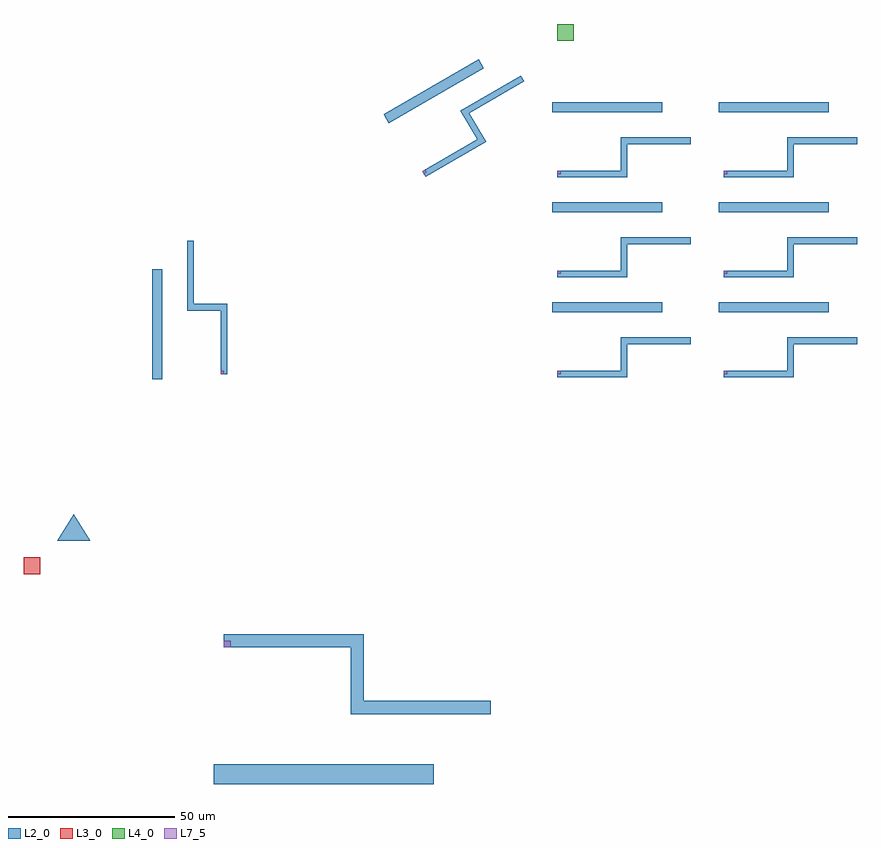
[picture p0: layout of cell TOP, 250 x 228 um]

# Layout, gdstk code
from math import pi, radians
import gdstk
lib = gdstk.Library(unit=1e-6, precision=1e-09)
def R(c, l, rs):  # rectangles x0, y0, x1, y1
    for r in rs: c.add(gdstk.rectangle(r[:2], r[2:], *l))
def P(c, l, *ps):  # polygons
    for p in ps: c.add(gdstk.Polygon(p, *l))
L2_0 = (2, 0)
L3_0 = (3, 0)
L4_0 = (4, 0)
L7_5 = (7, 5)

res = lib.new_cell('RES')
R(res, L7_5, [(0,0,1,1)])
res.add(gdstk.FlexPath([(0,0),(20,0),(20,10),(40,10)], 2, ends="flush", simple_path=True, layer=2, datatype=0))  # L2_0
res.add(gdstk.FlexPath([(0,20),(30,20)], 3, ends="extended", simple_path=True, layer=2, datatype=0))  # L2_0

top = lib.new_cell('TOP')
P(top, L2_0, [(-50,-50),(-45,-42),(-40,-50)])
R(top, L3_0, [(-60,-60,-55,-55)])
R(top, L4_0, [(100,100,105,105)])
top.add(gdstk.Reference(res, (0,0), rotation=pi/2))
top.add(gdstk.Reference(res, (0,-80), magnification=2, x_reflection=True))
top.add(gdstk.Reference(res, (60,60), rotation=radians(30)))
r = gdstk.Reference(res, (100,0)); r.repetition = gdstk.Repetition(2, 3, v1=(50,0), v2=(0,30)); top.add(r)

lib.write_gds('TOP.gds')
